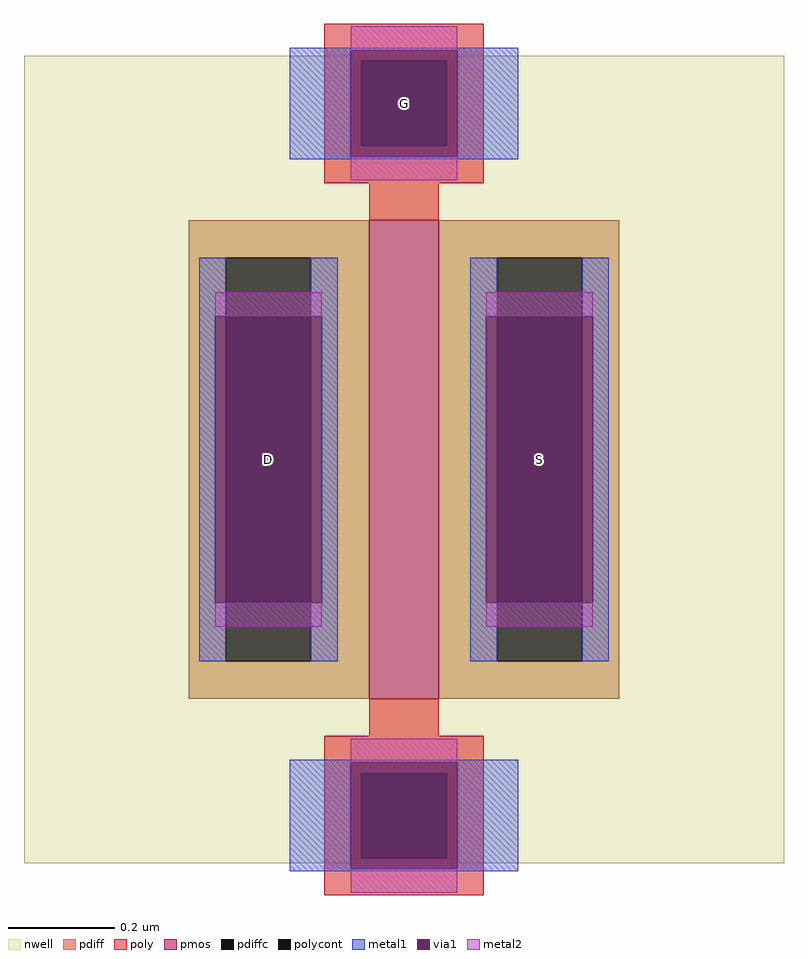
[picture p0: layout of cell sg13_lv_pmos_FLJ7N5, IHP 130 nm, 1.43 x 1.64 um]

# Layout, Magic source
magic
tech ihp-sg13cmos5l
magscale 1 2
<< nwell >>
rect -143 -152 143 152
<< pmos >>
rect -13 -90 13 90
<< pdiff >>
rect -81 76 -13 90
rect -81 -76 -67 76
rect -35 -76 -13 76
rect -81 -90 -13 -76
rect 13 76 81 90
rect 13 -76 35 76
rect 67 -76 81 76
rect 13 -90 81 -76
<< pdiffc >>
rect -67 -76 -35 76
rect 35 -76 67 76
<< poly >>
rect -30 150 30 164
rect -30 118 -16 150
rect 16 118 30 150
rect -30 104 30 118
rect -13 90 13 104
rect -13 -104 13 -90
rect -30 -118 30 -104
rect -30 -150 -16 -118
rect 16 -150 30 -118
rect -30 -164 30 -150
<< polycont >>
rect -16 118 16 150
rect -16 -150 16 -118
<< metal1 >>
rect -43 154 43 155
rect -43 114 -20 154
rect 20 114 43 154
rect -43 113 43 114
rect -77 54 -67 76
rect -35 54 -25 76
rect -77 -54 -71 54
rect -31 -54 -25 54
rect -77 -76 -67 -54
rect -35 -76 -25 -54
rect 25 54 35 76
rect 67 54 77 76
rect 25 -54 31 54
rect 71 -54 77 54
rect 25 -76 35 -54
rect 67 -76 77 -54
rect -43 -114 43 -113
rect -43 -154 -20 -114
rect 20 -154 43 -114
rect -43 -155 43 -154
<< via1 >>
rect -20 150 20 154
rect -20 118 -16 150
rect -16 118 16 150
rect 16 118 20 150
rect -20 114 20 118
rect -71 -54 -67 54
rect -67 -54 -35 54
rect -35 -54 -31 54
rect 31 -54 35 54
rect 35 -54 67 54
rect 67 -54 71 54
rect -20 -118 20 -114
rect -20 -150 -16 -118
rect -16 -150 16 -118
rect 16 -150 20 -118
rect -20 -154 20 -150
<< metal2 >>
rect -20 154 20 163
rect -20 105 20 114
rect -71 54 -31 63
rect -71 -63 -31 -54
rect 31 54 71 63
rect 31 -63 71 -54
rect -20 -114 20 -105
rect -20 -163 20 -154
<< labels >>
rlabel pdiffc -51 0 -51 0 0 D
port 1 nsew
rlabel pdiffc 51 0 51 0 0 S
port 2 nsew
rlabel polycont 0 134 0 134 0 G
port 3 nsew
<< properties >>
string gencell sg13_lv_pmos
string library sg13cmos5l
string parameters w 0.9 l 0.13 m 1 ng 1 diffcov 100 polycov 100 guard 0 glc 1 grc 1 gtc 1 gbc 1 tbcov 100 rlcov 100 topc 1 botc 1 poverlap 0 doverlap 1 lmin 0.13 wmin 0.15 class mosfet compatible {sg13_lv_pmos sg13_hv_pmos} full_metal 1 conn_gates 0 gate_ring 0 ccols 1 viasrc 100 viadrn 100 viagate 100 viagb 0 viagr 0 viagl 0 viagt 0 doports 1
<< end >>
